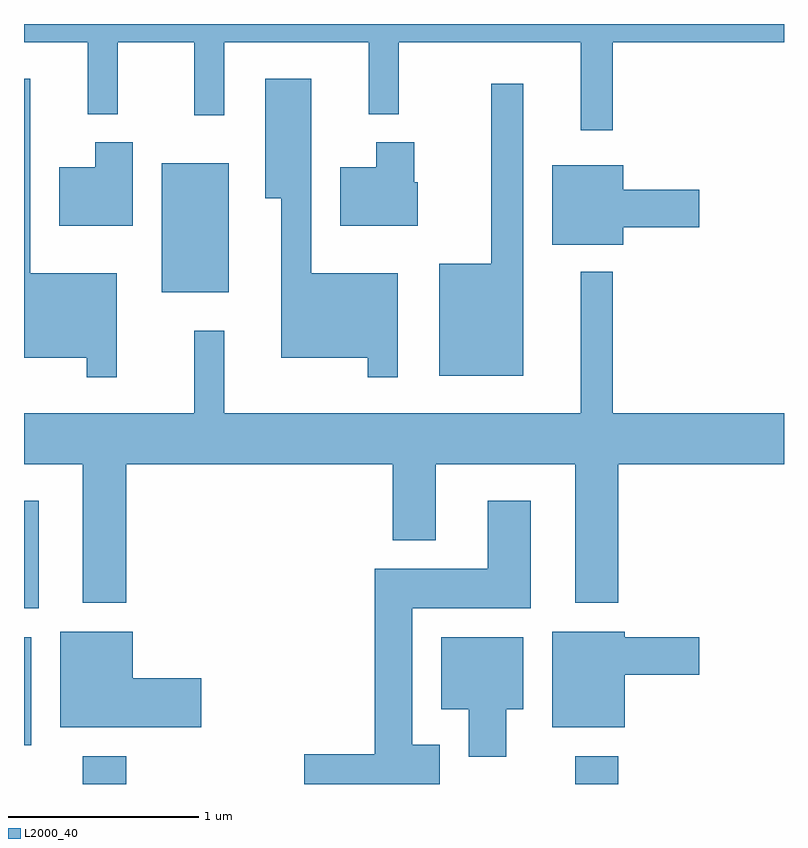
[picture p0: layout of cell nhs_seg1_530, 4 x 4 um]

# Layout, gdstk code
import gdstk
lib = gdstk.Library(unit=1e-6, precision=1e-09)
def R(c, l, rs):  # rectangles x0, y0, x1, y1
    for r in rs: c.add(gdstk.rectangle(r[:2], r[2:], *l))
def P(c, l, *ps):  # polygons
    for p in ps: c.add(gdstk.Polygon(p, *l))
L2000_40 = (2000, 40)

nhs_seg1_530 = lib.new_cell('nhs_seg1_530')
R(nhs_seg1_530, L2000_40, [(201.921,855.712,202.149,855.859), (204.511,855.712,204.739,855.859), (201.611,855.916,201.649,856.484), (201.611,856.636,201.689,857.204), (202.336,858.301,202.689,858.979)])
P(nhs_seg1_530, L2000_40, [(204.709,859.616),(205.611,859.616),(205.611,859.712),(201.611,859.712),(201.611,859.616),(201.946,859.616),(201.946,859.238),(202.104,859.238),(202.104,859.616),(202.506,859.616),(202.506,859.233),(202.664,859.233),(202.664,859.616),(203.426,859.616),(203.426,859.238),(203.584,859.238),(203.584,859.616),(204.541,859.616),(204.541,859.153),(204.709,859.153)],
  [(203.579,858.399),(203.124,858.399),(203.124,859.424),(202.881,859.424),(202.881,858.796),(202.966,858.796),(202.966,857.956),(203.421,857.956),(203.421,857.853),(203.579,857.853)],
  [(202.099,858.399),(201.644,858.399),(201.644,859.423),(201.611,859.423),(201.611,857.956),(201.941,857.956),(201.941,857.853),(202.099,857.853)],
  [(204.239,859.398),(204.071,859.398),(204.071,858.449),(203.796,858.449),(203.796,857.861),(204.239,857.861)],
  [(203.684,858.879),(203.664,858.879),(203.664,859.089),(203.466,859.089),(203.466,858.959),(203.276,858.959),(203.276,858.651),(203.684,858.651)],
  [(202.184,859.089),(201.986,859.089),(201.986,858.959),(201.796,858.959),(201.796,858.651),(202.184,858.651)],
  [(204.764,858.641),(205.164,858.641),(205.164,858.839),(204.764,858.839),(204.764,858.969),(204.391,858.969),(204.391,858.551),(204.764,858.551)],
  [(202.149,857.396),(203.551,857.396),(203.551,856.996),(203.779,856.996),(203.779,857.396),(204.511,857.396),(204.511,856.666),(204.739,856.666),(204.739,857.396),(205.611,857.396),(205.611,857.664),(204.709,857.664),(204.709,858.408),(204.541,858.408),(204.541,857.664),(202.664,857.664),(202.664,858.098),(202.506,858.098),(202.506,857.664),(201.611,857.664),(201.611,857.396),(201.921,857.396),(201.921,856.666),(202.149,856.666)],
  [(203.799,855.919),(203.654,855.919),(203.654,856.636),(204.279,856.636),(204.279,857.204),(204.051,857.204),(204.051,856.844),(203.456,856.844),(203.456,855.869),(203.086,855.869),(203.086,855.712),(203.799,855.712)],
  [(204.774,856.286),(205.164,856.286),(205.164,856.484),(204.774,856.484),(204.774,856.514),(204.391,856.514),(204.391,856.011),(204.774,856.011)],
  [(202.544,856.269),(202.184,856.269),(202.184,856.514),(201.801,856.514),(201.801,856.011),(202.544,856.011)],
  [(204.149,856.106),(204.239,856.106),(204.239,856.484),(203.806,856.484),(203.806,856.106),(203.951,856.106),(203.951,855.856),(204.149,855.856)])

lib.write_gds('nhs_seg1_530.gds')
